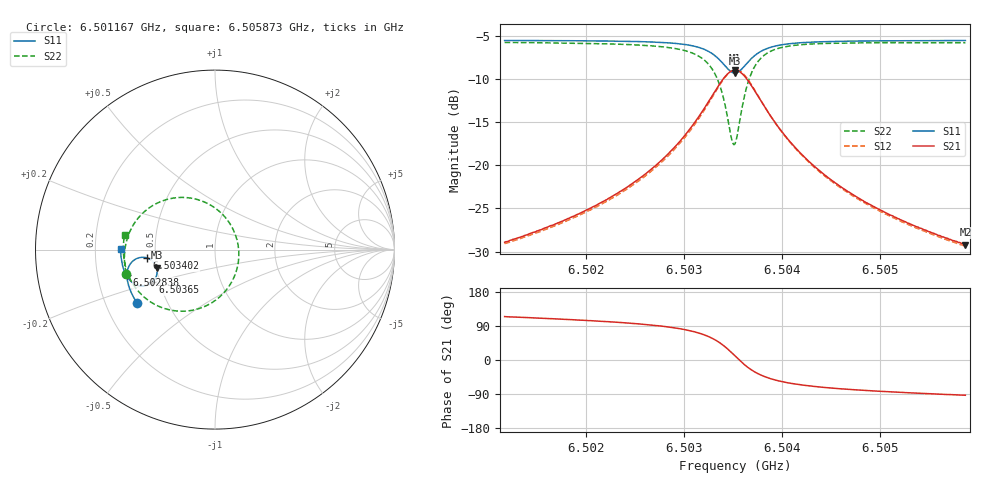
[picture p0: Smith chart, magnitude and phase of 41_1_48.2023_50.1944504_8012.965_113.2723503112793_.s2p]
#  HZ  S  RI  R  50.00
! Rohde & Schwarz Vector Network Analyzer
! Rohde-Schwarz,ZNB20-2Port,1311601062101988,3.16
! Created: UTC 3/20/2024, 11:37:51 AM
! freq[Hz]  re:S11  im:S11  re:S21  im:S21  re:S12  im:S12  re:S22  im:S22
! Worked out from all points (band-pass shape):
!   401 points, 6.501167 GHz to 6.505873 GHz, reference 50 ohm
!   highest |S21| = -9.02 dB at 6.50352 GHz (marker M1); lowest = -29.2 dB at 6.505873 GHz (marker M2)
!   |S21| within 3 dB of the highest: 6.503284 GHz to 6.503755 GHz (470.6 kHz wide, 0.00724 % of centre)
!   lowest |S11| = -9.3 dB at 6.50352 GHz (marker M3), VSWR 2.03, Z = 25 - j5.67 ohm
!   |S11| at or under -10 dB: nowhere
!   |S22| runs from -17.6 to -5.8 dB; largest |S21 - S12| = 0.012
!   S11 on the Smith chart (normalised r, x): 6.501167 GHz: 0.34, -0.27; 6.502838 GHz: 0.33, -0.12; 6.503402 GHz: 0.45, -0.05; 6.50365 GHz: 0.46, -0.20; 6.505873 GHz: 0.31, +0.00
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6.5011668e9  -0.436 -0.295  -0.0148 0.0325  -0.0129 0.0327  -0.4952 -0.1333
6.5019551e9  -0.4685 -0.2348  -0.0138 0.0514  -0.0113 0.0509  -0.5046 -0.0454
6.5024023e9  -0.4832 -0.1933  -0.0102 0.0729  -0.00713 0.0715  -0.4986 0.0227
6.5027435e9  -0.4903 -0.1534  -0.000345 0.1034  0.00342 0.1007  -0.4762 0.097
6.5028376e9  -0.4905 -0.1399  0.00562 0.1161  0.00925 0.1127  -0.4632 0.1237
6.5030377e9  -0.4847 -0.1053  0.0309 0.1528  0.0344 0.148  -0.4108 0.1947
6.5031789e9  -0.4681 -0.0747  0.0727 0.1879  0.0754 0.1818  -0.3297 0.255
6.5033083e9  -0.4303 -0.0476  0.1535 0.2142  0.154 0.2078  -0.1825 0.2908
6.5034024e9  -0.3816 -0.0457  0.2489 0.196  0.2489 0.1913  -0.0171 0.2435
6.5034848e9  -0.3371 -0.0768  0.3299 0.1171  0.3326 0.1129  0.1118 0.0876
6.5035201e9  -0.3259 -0.1002  0.3478 0.066  0.3516 0.0606  0.1326 -0.00866
6.5035436e9  -0.3229 -0.1172  0.3508 0.0299  0.3553 0.023  0.1293 -0.0754
6.5035789e9  -0.3252 -0.1425  0.3427 -0.0223  0.3466 -0.0317  0.0995 -0.168
6.5036495e9  -0.3486 -0.1813  0.2932 -0.1014  0.2933 -0.1135  -0.0173 -0.2957
6.5037437e9  -0.3912 -0.2019  0.2114 -0.1457  0.2062 -0.1566  -0.1843 -0.3434
6.503826e9  -0.422 -0.2012  0.1548 -0.1505  0.1476 -0.1584  -0.2894 -0.3256
6.5039084e9  -0.4449 -0.1932  0.1149 -0.143  0.1073 -0.1484  -0.359 -0.2915
6.5040731e9  -0.4736 -0.172  0.0675 -0.1208  0.0608 -0.1233  -0.4352 -0.2221
6.5043085e9  -0.495 -0.1422  0.0359 -0.0944  0.0307 -0.0948  -0.4805 -0.1466
6.5046497e9  -0.5106 -0.1051  0.0164 -0.07  0.0127 -0.0696  -0.5037 -0.0719
6.5050968e9  -0.5205 -0.0624  0.00552 -0.0515  0.00307 -0.0508  -0.5108 -0.00388
6.5058734e9  -0.526 0.00431  -0.00184 -0.0347  -0.00323 -0.0338  -0.504 0.0823
